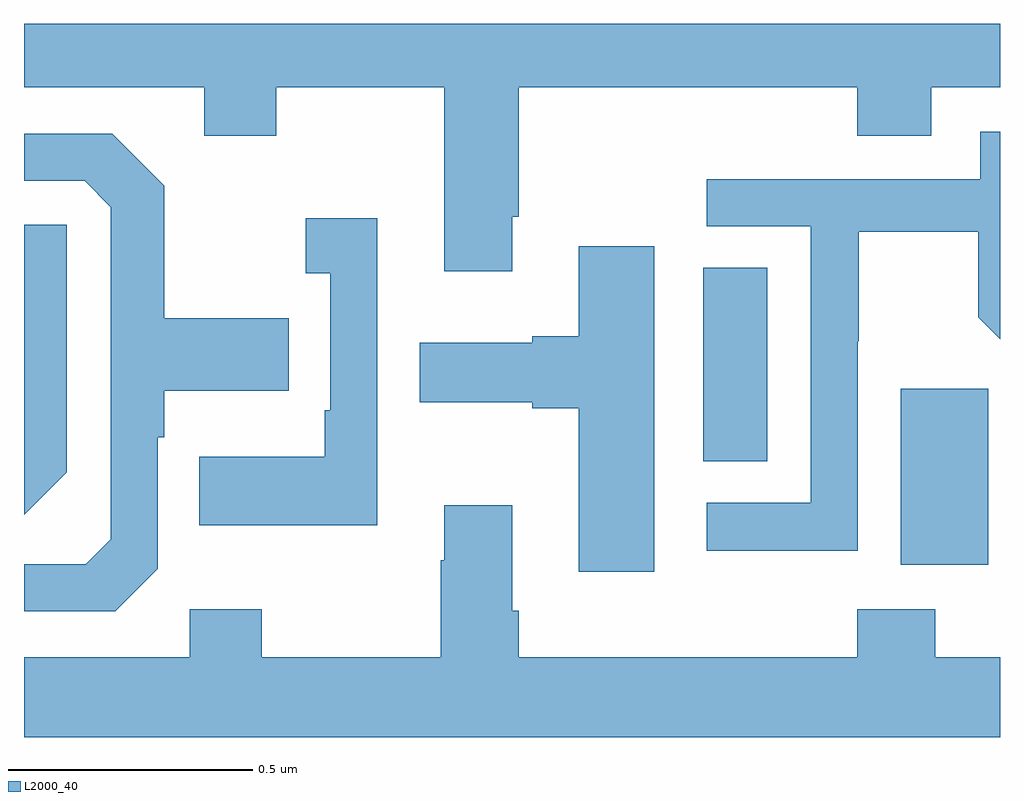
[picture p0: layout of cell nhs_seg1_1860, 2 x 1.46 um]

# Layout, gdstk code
import gdstk
lib = gdstk.Library(unit=1e-6, precision=1e-09)
def R(c, l, rs):  # rectangles x0, y0, x1, y1
    for r in rs: c.add(gdstk.rectangle(r[:2], r[2:], *l))
def P(c, l, *ps):  # polygons
    for p in ps: c.add(gdstk.Polygon(p, *l))
L2000_40 = (2000, 40)

nhs_seg1_1860 = lib.new_cell('nhs_seg1_1860')
R(nhs_seg1_1860, L2000_40, [(135.797,548.09,135.976,548.451), (135.392,548.302,135.523,548.699)])
P(nhs_seg1_1860, L2000_40, [(135.001,548.803),(135.014,548.803),(135.014,549.068),(135.707,549.068),(135.707,548.969),(135.859,548.969),(135.859,549.068),(136,549.068),(136,549.199),(134,549.199),(134,549.068),(134.369,549.068),(134.369,548.969),(134.517,548.969),(134.517,549.068),(134.861,549.068),(134.861,548.691),(135.001,548.691)],
  [(135.708,548.548),(135.711,548.548),(135.711,548.772),(135.955,548.772),(135.955,548.597),(136,548.552),(136,548.977),(135.96,548.977),(135.96,548.88),(135.399,548.88),(135.399,548.784),(135.612,548.784),(135.612,548.217),(135.399,548.217),(135.399,548.119),(135.708,548.119)],
  [(134.274,548.082),(134.274,548.351),(134.287,548.351),(134.287,548.447),(134.543,548.447),(134.543,548.595),(134.287,548.595),(134.287,548.867),(134.181,548.973),(134,548.973),(134,548.877),(134.124,548.877),(134.178,548.823),(134.178,548.142),(134.127,548.091),(134,548.091),(134,547.995),(134.187,547.995)],
  [(134.724,548.8),(134.577,548.8),(134.577,548.687),(134.628,548.687),(134.628,548.407),(134.616,548.407),(134.616,548.311),(134.359,548.311),(134.359,548.171),(134.724,548.171)],
  [(134.088,548.28),(134.088,548.787),(134,548.787),(134,548.192)],
  [(135.292,548.743),(135.137,548.743),(135.137,548.558),(135.041,548.558),(135.041,548.545),(134.811,548.545),(134.811,548.423),(135.041,548.423),(135.041,548.411),(135.137,548.411),(135.137,548.076),(135.292,548.076)],
  [(136,547.9),(135.867,547.9),(135.867,547.999),(135.707,547.999),(135.707,547.9),(135.014,547.9),(135.014,547.996),(135.001,547.996),(135.001,548.212),(134.861,548.212),(134.861,548.099),(134.854,548.099),(134.854,547.9),(134.487,547.9),(134.487,547.999),(134.34,547.999),(134.34,547.9),(134,547.9),(134,547.736),(136,547.736)])

lib.write_gds('nhs_seg1_1860.gds')
